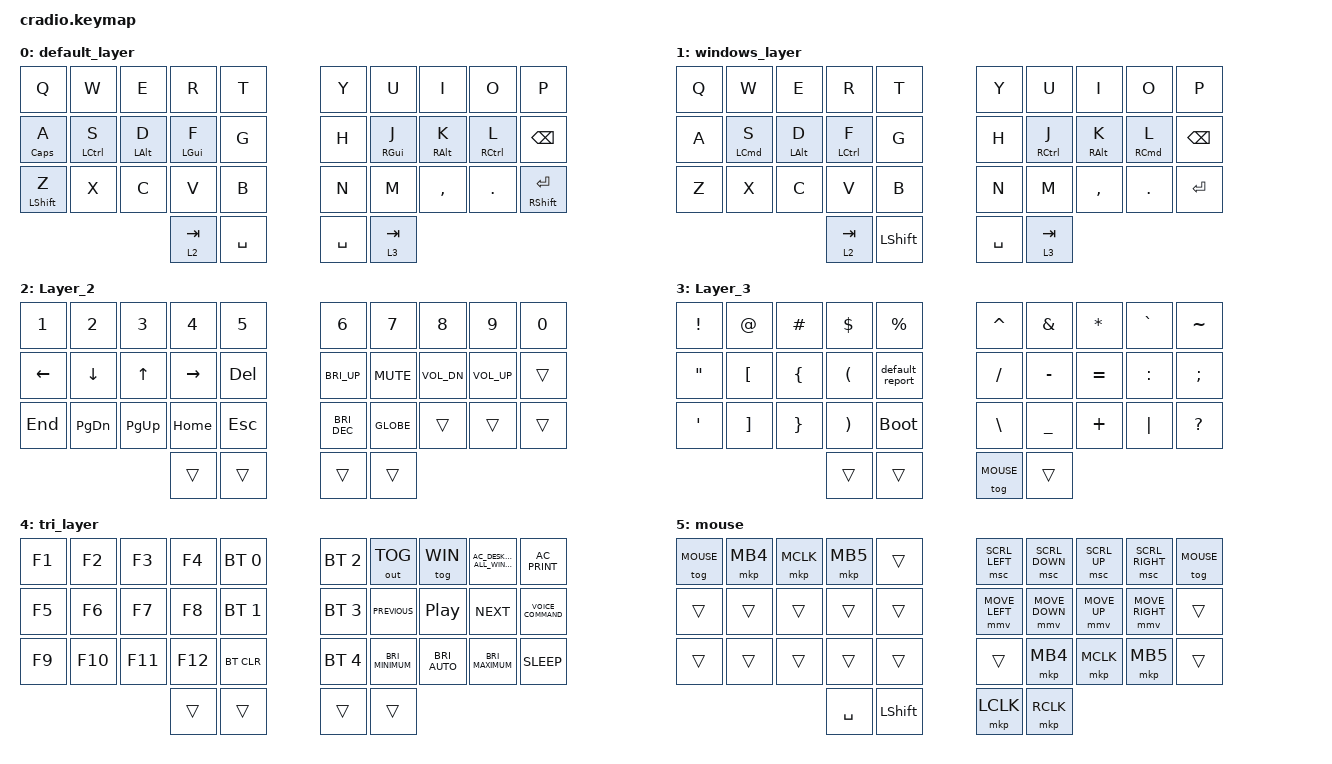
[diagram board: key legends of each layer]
// Copyright (c) 2022 The ZMK Contributors
// SPDX-License-Identifier: MIT

#define ZMK_MOUSE_DEFAULT_MOVE_VAL 2500  // 600
#define ZMK_MOUSE_DEFAULT_SCRL_VAL 20    // 10

#include <dt-bindings/zmk/mouse.h>
#include <behaviors.dtsi>
#include <dt-bindings/zmk/bt.h>
#include <dt-bindings/zmk/keys.h>
#include <dt-bindings/zmk/outputs.h>

#define MAC 0
#define WIN 1
#define RIG 2
#define LEF 3
#define TRI 4
#define MOUSE 5
#define U_MS_U &mmv MOVE_UP
#define U_MS_D &mmv MOVE_DOWN
#define U_MS_L &mmv MOVE_LEFT
#define U_MS_R &mmv MOVE_RIGHT
#define U_WH_U &msc SCRL_UP
#define U_WH_D &msc SCRL_DOWN
#define U_WH_L &msc SCRL_LEFT
#define U_WH_R &msc SCRL_RIGHT

/ {
    chosen { zmk,charmap = &charmap_us; };

    behaviors {
        ht: hold_tap {
            label = "hold_tap";
            compatible = "zmk,behavior-hold-tap";
            #binding-cells = <2>;
            flavor = "tap-preferred";
            tapping-term-ms = <200>;
            quick-tap-ms = <150>;
            global-quick-tap;
            bindings = <&kp>, <&kp>;
        };

        mmv {
            acceleration-exponent = <1>;      // 1
            time-to-max-speed-ms = <300>;    // 40
            delay-ms = <0>;                   // 0
        };

        msc {
            acceleration-exponent = <0>;      // 0
            time-to-max-speed-ms = <40>;      // 500
            delay-ms = <0>;                   // 10
        };
    };

    conditional_layers {
        compatible = "zmk,conditional-layers";

        tri_layer {
            if-layers = <RIG LEF>;
            then-layer = <TRI>;
        };
    };

    keymap {
        compatible = "zmk,keymap";

        default_layer {
            bindings = <
&kp Q         &kp W               &kp E           &kp R       &kp T        &kp Y      &kp U       &kp I            &kp O                &kp P
&ht CAPS A    &ht LEFT_CONTROL S  &ht LEFT_ALT D  &ht LGUI F  &kp G        &kp H      &ht RGUI J  &ht RIGHT_ALT K  &ht RIGHT_CONTROL L  &kp BSPC
&ht LSHIFT Z  &kp X               &kp C           &kp V       &kp B        &kp N      &kp M       &kp COMMA        &kp DOT              &ht RSHIFT ENTER
                                                  &lt 2 TAB   &kp SPACE    &kp SPACE  &lt 3 TAB
            >;
        };

        windows_layer {
            bindings = <
&kp Q  &kp W               &kp E           &kp R        &kp T         &kp Y      &kp U        &kp I            &kp O                &kp P
&kp A  &ht LEFT_COMMAND S  &ht LEFT_ALT D  &ht LCTRL F  &kp G         &kp H      &ht RCTRL J  &ht RIGHT_ALT K  &ht RIGHT_COMMAND L  &kp BSPC
&kp Z  &kp X               &kp C           &kp V        &kp B         &kp N      &kp M        &kp COMMA        &kp DOT              &kp ENTER
                                           &lt 2 TAB    &kp LSHIFT    &kp SPACE  &lt 3 TAB
            >;
        };

        Layer_2 {
            bindings = <
&kp N1          &kp N2          &kp N3        &kp N4           &kp N5        &kp N6         &kp N7      &kp N8        &kp N9           &kp N0
&kp LEFT_ARROW  &kp DOWN_ARROW  &kp UP_ARROW  &kp RIGHT_ARROW  &kp DELETE    &kp C_BRI_UP   &kp C_MUTE  &kp C_VOL_DN  &kp C_VOLUME_UP  &trans
&kp END         &kp PAGE_DOWN   &kp PAGE_UP   &kp HOME         &kp ESC       &kp C_BRI_DEC  &kp GLOBE   &trans        &trans           &trans
                                              &trans           &trans        &trans         &trans
            >;
        };

        Layer_3 {
            bindings = <
&kp EXCL  &kp AT    &kp HASH  &kp DLLR  &kp PRCNT          &kp CARET   &kp AMPS   &kp ASTRK  &kp GRAVE  &kp TILDE
&kp DQT   &kp LBKT  &kp LBRC  &kp LPAR  &default_report    &kp FSLH    &kp MINUS  &kp EQUAL  &kp COLON  &kp SEMI
&kp SQT   &kp RBKT  &kp RBRC  &kp RPAR  &bootloader        &kp BSLH    &kp UNDER  &kp PLUS   &kp PIPE   &kp QMARK
                              &trans    &trans             &tog MOUSE  &trans
            >;
        };

        tri_layer {
            bindings = <
&kp F1  &kp F2   &kp F3   &kp F4   &bt BT_SEL 0    &bt BT_SEL 2  &out OUT_TOG              &tog WIN               &kp C_AC_DESKTOP_SHOW_ALL_WINDOWS  &kp C_AC_PRINT
&kp F5  &kp F6   &kp F7   &kp F8   &bt BT_SEL 1    &bt BT_SEL 3  &kp C_PREVIOUS            &kp C_PP               &kp C_NEXT                         &kp C_VOICE_COMMAND
&kp F9  &kp F10  &kp F11  &kp F12  &bt BT_CLR      &bt BT_SEL 4  &kp C_BRIGHTNESS_MINIMUM  &kp C_BRIGHTNESS_AUTO  &kp C_BRIGHTNESS_MAXIMUM           &kp C_SLEEP
                          &trans   &trans          &trans        &trans
            >;
        };

        mouse {
            bindings = <
&tog MOUSE  &mkp MB4  &mkp MCLK  &mkp MB5   &trans        &msc SCRL_LEFT  &msc SCRL_DOWN  &msc SCRL_UP  &msc SCRL_RIGHT  &tog MOUSE
&trans      &trans    &trans     &trans     &trans        &mmv MOVE_LEFT  &mmv MOVE_DOWN  &mmv MOVE_UP  &mmv MOVE_RIGHT  &trans
&trans      &trans    &trans     &trans     &trans        &trans          &mkp MB4        &mkp MCLK     &mkp MB5         &trans
                                 &kp SPACE  &kp LSHIFT    &mkp LCLK       &mkp RCLK
            >;
        };
    };
};
